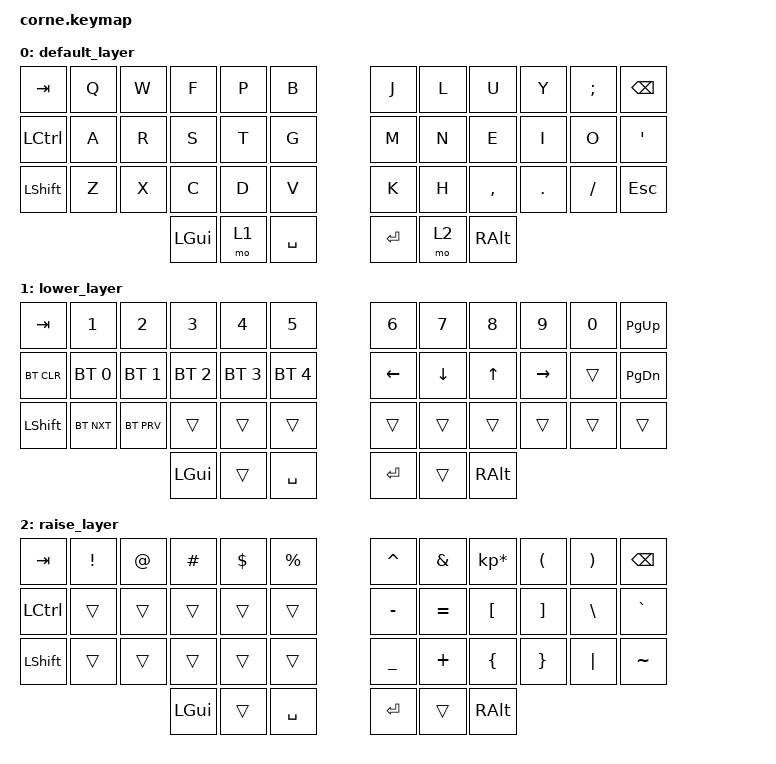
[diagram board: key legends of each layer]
/*
 * Copyright (c) 2020 The ZMK Contributors
 *
 * SPDX-License-Identifier: MIT
 */

#include <behaviors.dtsi>
#include <dt-bindings/zmk/keys.h>
#include <dt-bindings/zmk/bt.h>

/ {
        keymap {
                compatible = "zmk,keymap";

                default_layer {
// -----------------------------------------------------------------------------------------
// |  TAB |  Q  |  W  |  F  |  P  |  B  |   |  J  |  L   |  U  |  Y  |  :  | BKSP |
// | CTRL |  A  |  R  |  S  |  T  |  G  |   |  M  |  J   |  K  |  I  |  O  |  '   |
// | SHFT |  Z  |  X  |  C  |  D  |  V  |   |  K  |  H   |  ,  |  .  |  /  | ESC  |
//                    | GUI | LWR | SPC |   | ENT | RSE  | ALT |
                        bindings = <
   &kp TAB   &kp Q &kp W &kp F &kp P &kp B   &kp J &kp L  &kp U  &kp Y  &kp SEMI &kp BSPC
   &kp LCTRL &kp A &kp R &kp S &kp T &kp G   &kp M &kp N  &kp E  &kp I  &kp O &kp SQT
   &kp LSHFT &kp Z &kp X &kp C &kp D &kp V   &kp K &kp H  &kp COMMA &kp DOT &kp FSLH &kp ESC
                  &kp LGUI &mo 1 &kp SPACE   &kp RET &mo 2 &kp RALT
                        >;
                };
                lower_layer {
// -----------------------------------------------------------------------------------------
// |  TAB |  1  |  2  |  3  |  4  |  5  |   |  6  |  7  |  8  |  9  |  0  | PG_UP |
// | BTCLR| BT1 | BT2 | BT3 | BT4 | BT5 |   | LFT | DWN |  UP | RGT |     | PG_DN |
// | SHFT | BT_NXT | BT_PRV |     |     |     |   |     |     |     |     |     |      |
//                    | GUI |     | SPC |   | ENT |     | ALT |
                        bindings = <
   &kp TAB    &kp N1       &kp N2       &kp N3       &kp N4       &kp N5         &kp N6   &kp N7   &kp N8 &kp N9    &kp N0 &kp PG_UP
   &bt BT_CLR &bt BT_SEL 0 &bt BT_SEL 1 &bt BT_SEL 2 &bt BT_SEL 3 &bt BT_SEL 4   &kp LEFT &kp DOWN &kp UP &kp RIGHT &trans &kp PG_DN
   &kp LSHFT  &bt BT_NXT   &bt BT_PRV   &trans       &trans       &trans         &trans   &trans   &trans &trans    &trans &trans
                          	        &kp LGUI     &trans       &kp SPACE      &kp RET  &trans   &kp RALT
                        >;
                };

                raise_layer {
// -----------------------------------------------------------------------------------------
// |  TAB |  !  |  @  |  #  |  $  |  %  |   |  ^  |  &  |  *  |  (  |  )  | BKSP |
// | CTRL |     |     |     |     |     |   |  -  |  =  |  [  |  ]  |  \  |  `   |
// | SHFT |     |     |     |     |     |   |  _  |  +  |  {  |  }  | "|" |  ~   |
//                    | GUI |     | SPC |   | ENT |     | ALT |
                        bindings = <
   &kp  TAB  &kp EXCL &kp AT &kp HASH &kp DLLR &kp PRCNT   &kp CARET &kp AMPS  &kp KP_MULTIPLY &kp LPAR &kp RPAR &kp BSPC
   &kp LCTRL &trans   &trans &trans   &trans   &trans      &kp MINUS &kp EQUAL &kp LBKT        &kp RBKT &kp BSLH &kp GRAVE
   &kp LSHFT &trans   &trans &trans   &trans   &trans      &kp UNDER &kp PLUS  &kp LBRC        &kp RBRC &kp PIPE &kp TILDE
                    	     &kp LGUI &trans   &kp SPACE   &kp RET   &trans    &kp RALT
                        >;
                };
        };
};

&nice_view_spi {
    cs-gpios = <&pro_micro 0 GPIO_ACTIVE_HIGH>;
};
